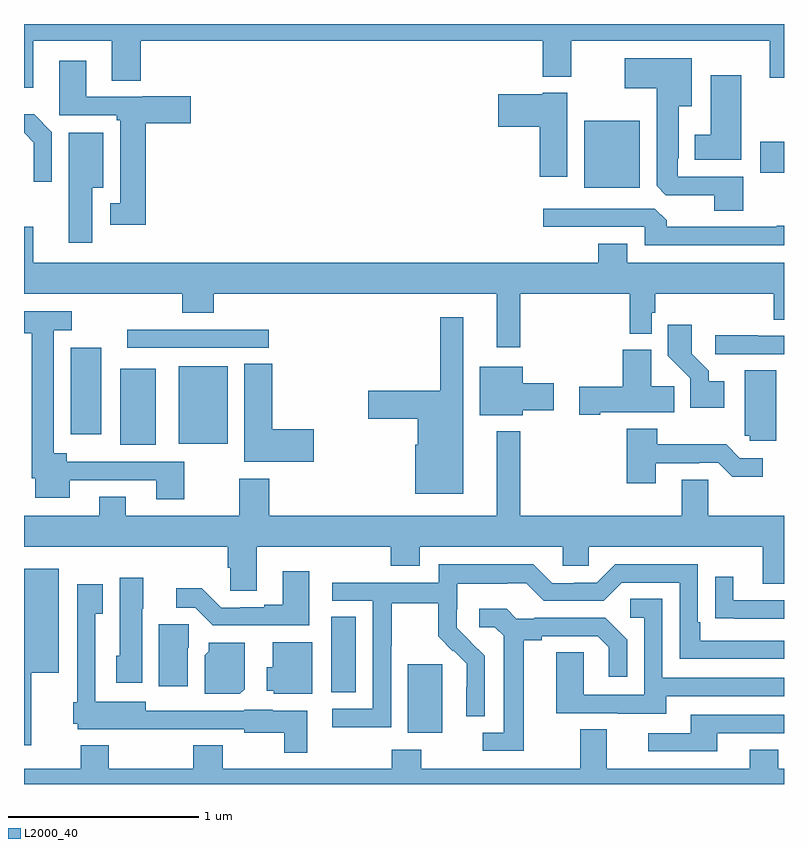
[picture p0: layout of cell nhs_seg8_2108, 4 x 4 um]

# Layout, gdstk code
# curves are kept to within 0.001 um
import gdstk
lib = gdstk.Library(unit=1e-6, precision=1e-09)
def R(c, l, rs):  # rectangles x0, y0, x1, y1
    for r in rs: c.add(gdstk.rectangle(r[:2], r[2:], *l))
def P(c, l, *ps):  # polygons
    for p in ps: c.add(gdstk.Polygon(p, *l))
L2000_40 = (2000, 40)

nhs_seg8_2108 = lib.new_cell('nhs_seg8_2108')
R(nhs_seg8_2108, L2000_40, [(245.021,1134.17,245.2,1134.531), (244.616,1134.382,244.747,1134.779), (243.506,1135.685,243.694,1136.086), (243.815,1135.691,244.072,1136.098), (243.245,1135.74,243.406,1136.197), (243.543,1136.196,244.288,1136.292), (245.948,1137.038,246.241,1137.391), (246.876,1137.116,247,1137.279)])
P(nhs_seg8_2108, L2000_40, [(243.049,1137.812),(243.461,1137.812),(243.461,1137.601),(243.614,1137.601),(243.614,1137.812),(245.729,1137.812),(245.729,1137.623),(245.881,1137.623),(245.881,1137.812),(246.926,1137.812),(246.926,1137.618),(247,1137.618),(247,1137.9),(243,1137.9),(243,1137.564),(243.049,1137.564)],
  [(246.785,1137.096),(246.441,1137.096),(246.441,1137.193),(246.445,1137.193),(246.445,1137.467),(246.514,1137.467),(246.514,1137.721),(246.162,1137.721),(246.162,1137.563),(246.329,1137.563),(246.329,1137.049),(246.378,1137),(246.632,1137),(246.632,1136.917),(246.785,1136.917)],
  [(243.641,1137.377),(243.877,1137.377),(243.877,1137.519),(243.624,1137.519),(243.624,1137.516),(243.328,1137.516),(243.328,1137.706),(243.185,1137.706),(243.185,1137.42),(243.488,1137.42),(243.488,1137.393),(243.506,1137.393),(243.506,1136.957),(243.453,1136.957),(243.453,1136.844),(243.641,1136.844)],
  [(246.775,1137.631),(246.614,1137.631),(246.614,1137.316),(246.53,1137.316),(246.53,1137.185),(246.775,1137.185)],
  [(245.86,1137.538),(245.73,1137.538),(245.73,1137.529),(245.496,1137.529),(245.496,1137.359),(245.714,1137.359),(245.714,1137.096),(245.86,1137.096)],
  [(243.147,1137.33),(243.053,1137.424),(243,1137.424),(243,1137.327),(243.051,1137.276),(243.051,1137.069),(243.147,1137.069)],
  [(243.358,1137.038),(243.418,1137.038),(243.418,1137.328),(243.236,1137.328),(243.236,1136.748),(243.358,1136.748)],
  [(247,1136.837),(246.962,1136.837),(246.962,1136.832),(246.383,1136.832),(246.383,1136.866),(246.321,1136.928),(245.733,1136.928),(245.733,1136.832),(246.267,1136.832),(246.267,1136.736),(247,1136.736)],
  [(246.175,1136.743),(246.023,1136.743),(246.023,1136.644),(243.049,1136.644),(243.049,1136.832),(243,1136.832),(243,1136.48),(243.833,1136.48),(243.833,1136.381),(243.998,1136.381),(243.998,1136.48),(245.489,1136.48),(245.489,1136.199),(245.611,1136.199),(245.611,1136.48),(246.187,1136.48),(246.187,1136.27),(246.303,1136.27),(246.303,1136.379),(246.323,1136.379),(246.323,1136.48),(246.947,1136.48),(246.947,1136.344),(247,1136.344),(247,1136.644),(246.175,1136.644)],
  [(243.843,1135.596),(243.226,1135.596),(243.226,1135.642),(243.156,1135.642),(243.156,1136.288),(243.25,1136.288),(243.25,1136.388),(243,1136.388),(243,1136.272),(243.04,1136.272),(243.04,1135.51),(243.059,1135.51),(243.059,1135.406),(243.241,1135.406),(243.241,1135.5),(243.695,1135.5),(243.695,1135.398),(243.843,1135.398)],
  [(245.311,1136.356),(245.19,1136.356),(245.19,1135.97),(244.812,1135.97),(244.812,1135.823),(245.072,1135.823),(245.072,1135.686),(245.06,1135.686),(245.06,1135.427),(245.311,1135.427)],
  [(246.685,1136.02),(246.604,1136.02),(246.604,1136.075),(246.514,1136.165),(246.514,1136.317),(246.388,1136.317),(246.388,1136.154),(246.507,1136.035),(246.507,1135.88),(246.685,1135.88)],
  [(247,1136.259),(246.863,1136.259),(246.863,1136.262),(246.639,1136.262),(246.639,1136.163),(247,1136.163)],
  [(246.034,1135.856),(246.422,1135.856),(246.422,1135.994),(246.301,1135.994),(246.301,1136.185),(246.152,1136.185),(246.152,1135.991),(245.922,1135.991),(245.922,1135.844),(246.034,1135.844)],
  [(244.525,1135.766),(244.307,1135.766),(244.307,1136.111),(244.16,1136.111),(244.16,1135.595),(244.525,1135.595)],
  [(245.626,1135.868),(245.788,1135.868),(245.788,1136.01),(245.626,1136.01),(245.626,1136.095),(245.399,1136.095),(245.399,1135.841),(245.626,1135.841)],
  [(246.958,1136.078),(246.794,1136.078),(246.794,1135.734),(246.819,1135.734),(246.819,1135.707),(246.958,1135.707)],
  [(246.325,1135.587),(246.554,1135.587),(246.554,1135.59),(246.654,1135.59),(246.727,1135.517),(246.889,1135.517),(246.889,1135.614),(246.768,1135.614),(246.695,1135.687),(246.333,1135.687),(246.333,1135.771),(246.173,1135.771),(246.173,1135.482),(246.325,1135.482)],
  [(244.225,1135.148),(244.931,1135.148),(244.931,1135.049),(245.083,1135.049),(245.083,1135.148),(245.835,1135.148),(245.835,1135.05),(245.973,1135.05),(245.973,1135.148),(246.887,1135.148),(246.887,1134.954),(247,1134.954),(247,1135.312),(246.6,1135.312),(246.6,1135.502),(246.461,1135.502),(246.461,1135.312),(245.611,1135.312),(245.611,1135.756),(245.489,1135.756),(245.489,1135.312),(244.292,1135.312),(244.292,1135.507),(244.132,1135.507),(244.132,1135.312),(243.535,1135.312),(243.535,1135.411),(243.395,1135.411),(243.395,1135.312),(243,1135.312),(243,1135.148),(244.073,1135.148),(244.073,1135.038),(244.086,1135.038),(244.086,1134.916),(244.225,1134.916)],
  [(244.932,1134.628),(244.935,1134.628),(244.935,1134.852),(245.179,1134.852),(245.179,1134.677),(245.256,1134.6),(245.259,1134.603),(245.33,1134.533),(245.33,1134.41),(245.328,1134.41),(245.328,1134.256),(245.424,1134.256),(245.424,1134.574),(245.278,1134.722),(245.278,1134.819),(245.28,1134.819),(245.28,1134.953),(245.543,1134.953),(245.543,1134.957),(245.643,1134.957),(245.736,1134.864),(246.051,1134.864),(246.147,1134.96),(246.45,1134.96),(246.45,1134.558),(247,1134.558),(247,1134.654),(246.559,1134.654),(246.559,1134.751),(246.546,1134.751),(246.546,1135.056),(246.111,1135.056),(246.015,1134.96),(245.897,1134.96),(245.897,1134.957),(245.781,1134.957),(245.681,1135.057),(245.184,1135.057),(245.184,1134.96),(244.623,1134.96),(244.623,1134.864),(244.836,1134.864),(244.836,1134.297),(244.623,1134.297),(244.623,1134.199),(244.932,1134.199)],
  [(243.037,1134.485),(243.184,1134.485),(243.184,1135.033),(243,1135.033),(243,1134.105),(243.037,1134.105)],
  [(244.501,1135.021),(244.361,1135.021),(244.361,1134.844),(244.265,1134.844),(244.265,1134.831),(244.138,1134.831),(244.138,1134.828),(244.038,1134.828),(243.936,1134.931),(243.801,1134.931),(243.801,1134.828),(243.9,1134.828),(243.993,1134.735),(244.501,1134.735)],
  [(247,1134.867),(246.733,1134.867),(246.733,1134.991),(246.637,1134.991),(246.637,1134.772),(246.739,1134.772),(246.739,1134.771),(247,1134.771)],
  [(243.622,1134.822),(243.628,1134.822),(243.628,1134.985),(243.503,1134.985),(243.503,1134.576),(243.485,1134.576),(243.485,1134.432),(243.622,1134.432)],
  [(244.492,1134.286),(244.308,1134.286),(244.308,1134.292),(244.158,1134.292),(244.158,1134.285),(243.64,1134.285),(243.64,1134.334),(243.375,1134.334),(243.375,1134.796),(243.415,1134.796),(243.415,1134.952),(243.279,1134.952),(243.279,1134.33),(243.26,1134.33),(243.26,1134.216),(243.282,1134.216),(243.282,1134.188),(243.636,1134.188),(243.636,1134.189),(244.158,1134.189),(244.158,1134.17),(244.371,1134.17),(244.371,1134.065),(244.492,1134.065)],
  [(246.379,1134.363),(247,1134.363),(247,1134.459),(246.36,1134.459),(246.36,1134.875),(246.192,1134.875),(246.192,1134.774),(246.264,1134.774),(246.264,1134.369),(245.946,1134.369),(245.946,1134.593),(245.801,1134.593),(245.801,1134.273),(246.125,1134.273),(246.125,1134.269),(246.379,1134.269)],
  [(245.629,1134.656),(245.725,1134.656),(245.725,1134.678),(246.02,1134.678),(246.077,1134.621),(246.077,1134.465),(246.174,1134.465),(246.174,1134.658),(246.058,1134.774),(245.686,1134.774),(245.686,1134.771),(245.592,1134.771),(245.54,1134.823),(245.397,1134.823),(245.397,1134.726),(245.478,1134.726),(245.525,1134.679),(245.525,1134.171),(245.415,1134.171),(245.415,1134.075),(245.629,1134.075)],
  [(243.862,1134.618),(243.866,1134.618),(243.866,1134.741),(243.71,1134.741),(243.71,1134.414),(243.862,1134.414)],
  [(244.516,1134.646),(244.31,1134.646),(244.31,1134.514),(244.277,1134.514),(244.277,1134.392),(244.314,1134.392),(244.314,1134.374),(244.516,1134.374)],
  [(244.162,1134.4),(244.162,1134.643),(243.972,1134.643),(243.972,1134.6),(243.95,1134.578),(243.95,1134.374),(244.136,1134.374)],
  [(246.649,1134.168),(247,1134.168),(247,1134.264),(246.509,1134.264),(246.509,1134.168),(246.285,1134.168),(246.285,1134.072),(246.649,1134.072)],
  [(247,1133.98),(246.969,1133.98),(246.969,1134.079),(246.821,1134.079),(246.821,1133.98),(246.067,1133.98),(246.067,1134.188),(245.927,1134.188),(245.927,1133.98),(245.091,1133.98),(245.091,1134.079),(244.936,1134.079),(244.936,1133.98),(244.047,1133.98),(244.047,1134.104),(243.892,1134.104),(243.892,1133.98),(243.447,1133.98),(243.447,1134.103),(243.299,1134.103),(243.299,1133.98),(243,1133.98),(243,1133.9),(247,1133.9)])

lib.write_gds('nhs_seg8_2108.gds')
